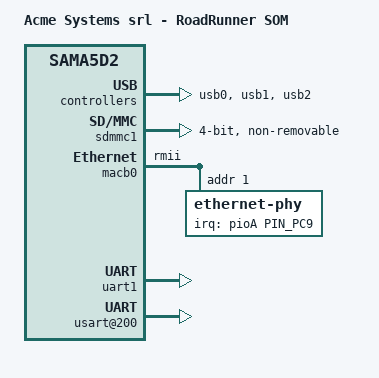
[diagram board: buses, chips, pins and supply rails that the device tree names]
// SPDX-License-Identifier: (GPL-2.0+ OR MIT)
/*
 * acme-roadrunner.dts - Device Tree file for Roadrunner SOM
 *
 *  Copyright (C) 2015 Atmel,
 *                2015 Nicolas Ferre <nicolas.ferre@atmel.com>
 * 	
 *  Copyright (C) 2021 Acme Systems srl,
 *                2021 Sergio Tanzilli <tanzilli@acmesystems.it>
 */
/dts-v1/;
#include "sama5d2.dtsi"
#include "sama5d2-pinfunc.h"
#include <dt-bindings/mfd/atmel-flexcom.h>
#include <dt-bindings/gpio/gpio.h>

/ {
	model = "Acme Systems srl - RoadRunner SOM";
	compatible = "atmel,sama5d2-roadrunner", "atmel,sama5d2", "atmel,sama5";

	chosen {
		stdout-path = "serial0:115200n8";
	};

	clocks {
		slow_xtal {
			clock-frequency = <32768>;
		};

		main_xtal {
			clock-frequency = <12000000>;
		};
	};

	ahb {
		usb0: gadget@300000 {
			atmel,vbus-gpio = <&pioA PIN_PA31 GPIO_ACTIVE_HIGH>;
			pinctrl-names = "default";
			pinctrl-0 = <&pinctrl_usba_vbus>;
			status = "okay";
		};

		usb1: ohci@400000 {
			num-ports = <3>;
			atmel,vbus-gpio = <0 /* &pioA PIN_PB9 GPIO_ACTIVE_HIGH */
					   &pioA PIN_PB10 GPIO_ACTIVE_HIGH
					   0
					  >;
			pinctrl-names = "default";
			pinctrl-0 = <&pinctrl_usb_default>;
			status = "okay";
		};

		usb2: ehci@500000 {
			status = "okay";
		};

		sdmmc1: sdio-host@b0000000 {
			bus-width = <4>;
			pinctrl-names = "default";
			pinctrl-0 = <&pinctrl_sdmmc1_default>;
			non-removable;			
			status = "okay"; /* conflict with qspi0 */
		};

		apb {
			macb0: ethernet@f8008000 {
				pinctrl-names = "default";
				pinctrl-0 = <&pinctrl_macb0_default &pinctrl_macb0_phy_irq>;
				phy-mode = "rmii";
				status = "okay";

				ethernet-phy@1 {
					reg = <0x1>;
					interrupt-parent = <&pioA>;
					interrupts = <PIN_PC9 IRQ_TYPE_LEVEL_LOW>;
				};
			};

			tcb0: timer@f800c000 {
				timer0: timer@0 {
					compatible = "atmel,tcb-timer";
					reg = <0>;
				};

				timer1: timer@1 {
					compatible = "atmel,tcb-timer";
					reg = <1>;
				};
			};

			uart1: serial@f8020000 {
				pinctrl-names = "default";
				pinctrl-0 = <&pinctrl_uart1_default>;
				atmel,use-dma-rx;
				atmel,use-dma-tx;
				status = "okay";
			};

			flx0: flexcom@f8034000 {
				atmel,flexcom-mode = <1>;
				status = "okay";
				usart@200 {
					compatible = "atmel,at91sam9260-usart";
					reg = <0x200 0x200>;
					interrupts = <19 IRQ_TYPE_LEVEL_HIGH 7>;
					pinctrl-names = "default";
					pinctrl-0 = <&pinctrl_flx0_default>;
					clocks = <&pmc PMC_TYPE_PERIPHERAL 19>;
					clock-names = "usart";
					status = "okay";
				};
			};

			shdwc@f8048010 {
				atmel,shdwc-debouncer = <976>;
				atmel,wakeup-rtc-timer;

				input@0 {
					reg = <0>;
					atmel,wakeup-type = "low";
				};
			};

			watchdog@f8048040 {
				status = "okay";
			};

			pinctrl@fc038000 {
				pinctrl_macb0_default: macb0_default {
					pinmux = <PIN_PB14__GTXCK>,
						 <PIN_PB15__GTXEN>,
						 <PIN_PB16__GRXDV>,
						 <PIN_PB17__GRXER>,
						 <PIN_PB18__GRX0>,
						 <PIN_PB19__GRX1>,
						 <PIN_PB20__GTX0>,
						 <PIN_PB21__GTX1>,
						 <PIN_PB22__GMDC>,
						 <PIN_PB23__GMDIO>;
					bias-disable;
				};

				pinctrl_macb0_phy_irq: macb0_phy_irq {
					pinmux = <PIN_PC9__GPIO>;
					bias-disable;
				};


				pinctrl_sdmmc1_default: sdmmc1_default {
					cmd_data {
						pinmux = <PIN_PA28__SDMMC1_CMD>,
							 <PIN_PA18__SDMMC1_DAT0>,
							 <PIN_PA19__SDMMC1_DAT1>,
							 <PIN_PA20__SDMMC1_DAT2>,
							 <PIN_PA21__SDMMC1_DAT3>;
						bias-pull-up;
					};

					conf-ck_cd {
						pinmux = <PIN_PA22__SDMMC1_CK>;
						bias-disable;
					};
				};


				pinctrl_uart1_default: uart1_default {
					pinmux = <PIN_PD2__URXD1>,
						 <PIN_PD3__UTXD1>;
					bias-disable;
				};

				pinctrl_flx0_default: flx0_default {
					pinmux = <PIN_PB28__FLEXCOM0_IO0>,
						 <PIN_PB29__FLEXCOM0_IO1>,
						 <PIN_PB31__FLEXCOM0_IO3>,
						 <PIN_PC0__FLEXCOM0_IO4>;
					bias-disable;
				};

				pinctrl_usb_default: usb_default {
					pinmux = <PIN_PB10__GPIO>;
					bias-disable;
				};

				pinctrl_usba_vbus: usba_vbus {
					pinmux = <PIN_PA31__GPIO>;
					bias-disable;
				};
			};
		};
	};
};
